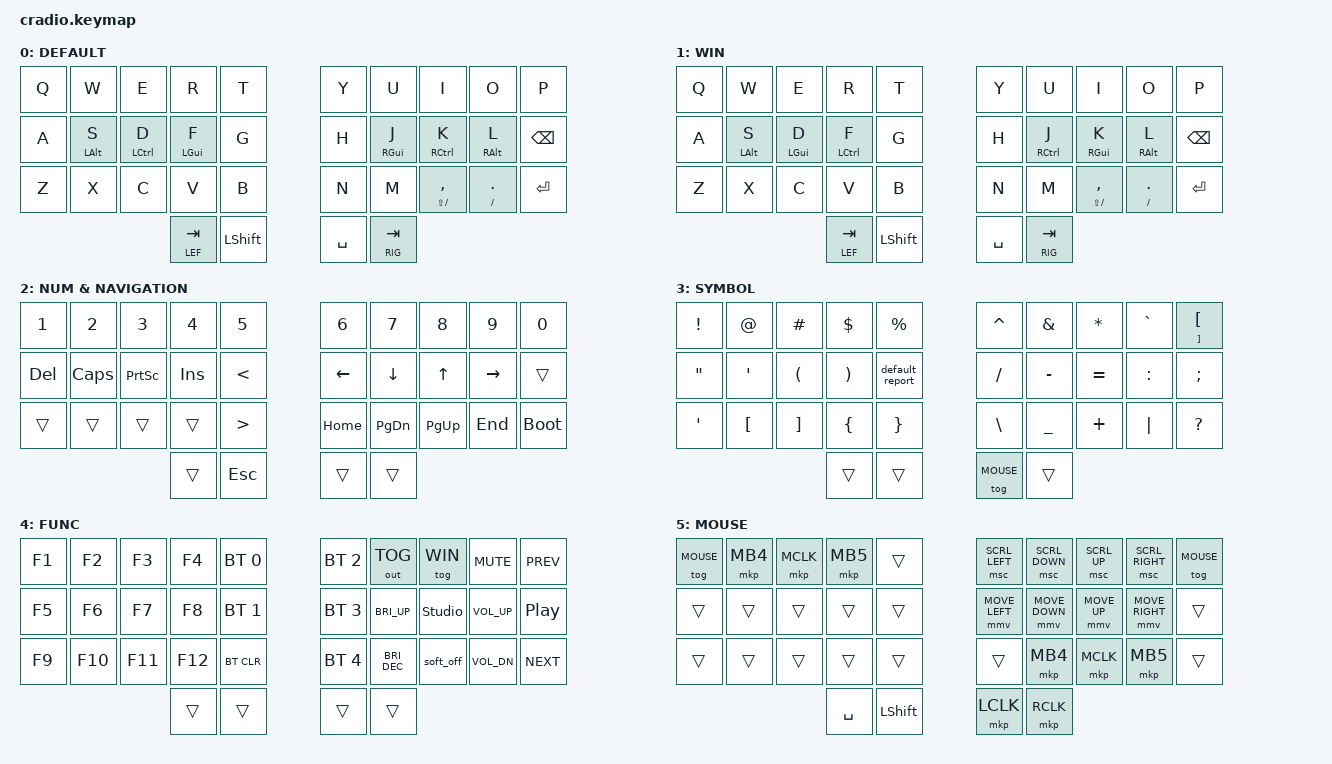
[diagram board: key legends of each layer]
// Copyright (c) 2022 The ZMK Contributors
// SPDX-License-Identifier: MIT

#define ZMK_POINTING_DEFAULT_MOVE_VAL 2500  // 600
#define ZMK_POINTING_DEFAULT_SCRL_VAL 20    // 10

#include <behaviors.dtsi>
#include "behaviors/character_map.dtsi"
#include "behaviors/send_string.dtsi"
#include "behaviors/report.dtsi"
#include <dt-bindings/zmk/bt.h>
#include <dt-bindings/zmk/keys.h>
#include <dt-bindings/zmk/outputs.h>
#include <dt-bindings/zmk/pointing.h>

#define MAC   0
#define WIN   1
#define RIG   2
#define LEF   3
#define TRI   4
#define MOUSE 5

/ {
    keys {
        compatible = "gpio-keys";
        soft_off_gpio_key: soft_off_gpio_key {
            gpios = <&gpio1 6 (GPIO_ACTIVE_LOW | GPIO_PULL_UP)>;
        };
    };
    wakeup_scan: wakeup_scan {
        compatible = "zmk,kscan-gpio-direct";
        input-keys = <&soft_off_gpio_key>;
        wakeup-source;
    };
    side_band_behavior_triggers: side_band_behavior_triggers {
        compatible = "zmk,kscan-sideband-behaviors";
        kscan = <&wakeup_scan>;
        auto-enable;
        wakeup-source;
    };
    soft_off_wakers {
        compatible = "zmk,soft-off-wakeup-sources";
        wakeup-sources = <&wakeup_scan>;
    };
};

/ {
    vbatt: vbatt {
        compatible = "zmk,battery-nrf-vddh";
    };
    chosen {
        zmk,charmap = &charmap_us;
        zmk,battery = &vbatt;
    };
    behaviors {
        ht: hold_tap {
            display-name = "hold_tap";
            compatible = "zmk,behavior-hold-tap";
            #binding-cells = <2>;
            flavor = "balanced";
            tapping-term-ms = <200>;
            quick-tap-ms = <150>;
            bindings = <&kp>, <&kp>;
        };

        // Tap for х (LBKT), Hold for ъ (RBKT)
        ht_z: ht_z {
            compatible = "zmk,behavior-hold-tap";
            #binding-cells = <2>;
            flavor = "balanced";
            tapping-term-ms = <200>;
            quick-tap-ms = <125>;
            bindings = <&kp>, <&kp>;
        };

        // Tap for RU б (COMMA), Hold for RU Comma (LS(FSLH))
        ht_comma: ht_comma {
            compatible = "zmk,behavior-hold-tap";
            #binding-cells = <2>;
            flavor = "balanced";
            tapping-term-ms = <200>;
            quick-tap-ms = <125>;
            bindings = <&kp>, <&kp>;
        };

        // Tap for RU ю (DOT), Hold for RU Dot (FSLH)
        ht_dot: ht_dot {
            compatible = "zmk,behavior-hold-tap";
            #binding-cells = <2>;
            flavor = "balanced";
            tapping-term-ms = <200>;
            quick-tap-ms = <125>;
            bindings = <&kp>, <&kp>;
        };

        mmv {
            acceleration-exponent = <1>;    // 1
            time-to-max-speed-ms = <300>;  // 40
            delay-ms = <0>;                 // 0
        };
        msc {
            acceleration-exponent = <0>;    // 0
            time-to-max-speed-ms = <40>;    // 500
            delay-ms = <0>;                 // 10
        };
    };

    conditional_layers {
        compatible = "zmk,conditional-layers";

        tri_layer {
            if-layers = <RIG LEF>;
            then-layer = <TRI>;
        };
    };

    keymap {
        compatible = "zmk,keymap";

        default_layer {
            display-name = "DEFAULT";
            bindings = <
                &kp Q        &kp W          &kp E          &kp R          &kp T          &kp Y          &kp U          &kp I                      &kp O                      &kp P
                &kp A        &ht LALT S     &ht LCTRL D    &ht LGUI F     &kp G          &kp H          &ht RGUI J     &ht RCTRL K                &ht RALT L                 &kp BSPC
                &kp Z        &kp X          &kp C          &kp V          &kp B          &kp N          &kp M          &ht_comma LS(FSLH) COMMA   &ht_dot FSLH DOT           &kp ENTER
                                            &lt LEF TAB    &kp LSHIFT                    &kp SPACE      &lt RIG TAB
            >;
        };

        windows_layer {
            display-name = "WIN";
            bindings = <
                &kp Q        &kp W          &kp E          &kp R          &kp T          &kp Y          &kp U          &kp I                      &kp O                      &kp P
                &kp A        &ht LALT S     &ht LGUI D     &ht LCTRL F    &kp G          &kp H          &ht RCTRL J    &ht RGUI K                 &ht RALT L                 &kp BSPC
                &kp Z        &kp X          &kp C          &kp V          &kp B          &kp N          &kp M          &ht_comma LS(FSLH) COMMA   &ht_dot FSLH DOT           &kp ENTER
                                            &lt LEF TAB    &kp LSHIFT                    &kp SPACE      &lt RIG TAB
            >;
        };

        right_layer {
            display-name = "NUM & NAVIGATION";
            bindings = <
                &kp N1       &kp N2         &kp N3         &kp N4         &kp N5         &kp N6         &kp N7         &kp N8                     &kp N9                     &kp N0
                &kp DEL      &kp CAPS       &kp PSCRN      &kp INS        &kp LT         &kp LEFT       &kp DOWN       &kp UP                     &kp RIGHT                  &trans
                &trans       &trans         &trans         &trans         &kp GT         &kp HOME       &kp PG_DN      &kp PG_UP                  &kp END                    &bootloader
                                            &trans         &kp ESC                       &trans         &trans
            >;
        };

        left_layer {
            display-name = "SYMBOL";
            bindings = <
                &kp EXCL     &kp AT         &kp HASH       &kp DLLR       &kp PRCNT      &kp CARET      &kp AMPS       &kp ASTRK                  &kp GRAVE                  &ht_z RBKT LBKT
                &kp DQT      &kp SQT        &kp LPAR       &kp RPAR       &default_report &kp FSLH      &kp MINUS      &kp EQUAL                  &kp COLON                  &kp SEMI
                &kp SQT      &kp LBKT       &kp RBKT       &kp LBRC       &kp RBRC       &kp BSLH       &kp UNDER      &kp PLUS                   &kp PIPE                   &kp QMARK
                                            &trans         &trans                        &tog MOUSE     &trans
            >;
        };

        tri_layer {
            display-name = "FUNC";
            bindings = <
                &kp F1       &kp F2         &kp F3         &kp F4         &bt BT_SEL 0   &bt BT_SEL 2   &out OUT_TOG   &tog WIN                   &kp C_MUTE                 &kp C_PREV
                &kp F5       &kp F6         &kp F7         &kp F8         &bt BT_SEL 1   &bt BT_SEL 3   &kp C_BRI_UP   &studio_unlock             &kp C_VOL_UP               &kp C_PP
                &kp F9       &kp F10        &kp F11        &kp F12        &bt BT_CLR     &bt BT_SEL 4   &kp C_BRI_DEC  &soft_off                  &kp C_VOL_DN               &kp C_NEXT
                                            &trans         &trans                        &trans         &trans
            >;
        };

        mouse {
            display-name = "MOUSE";
            bindings = <
                &tog MOUSE   &mkp MB4       &mkp MCLK      &mkp MB5       &trans         &msc SCRL_LEFT &msc SCRL_DOWN &msc SCRL_UP               &msc SCRL_RIGHT            &tog MOUSE
                &trans       &trans         &trans         &trans         &trans         &mmv MOVE_LEFT &mmv MOVE_DOWN &mmv MOVE_UP               &mmv MOVE_RIGHT            &trans
                &trans       &trans         &trans         &trans         &trans         &trans         &mkp MB4       &mkp MCLK                  &mkp MB5                   &trans
                                            &kp SPACE      &kp LSHIFT                    &mkp LCLK      &mkp RCLK
            >;
        };
    };
};
